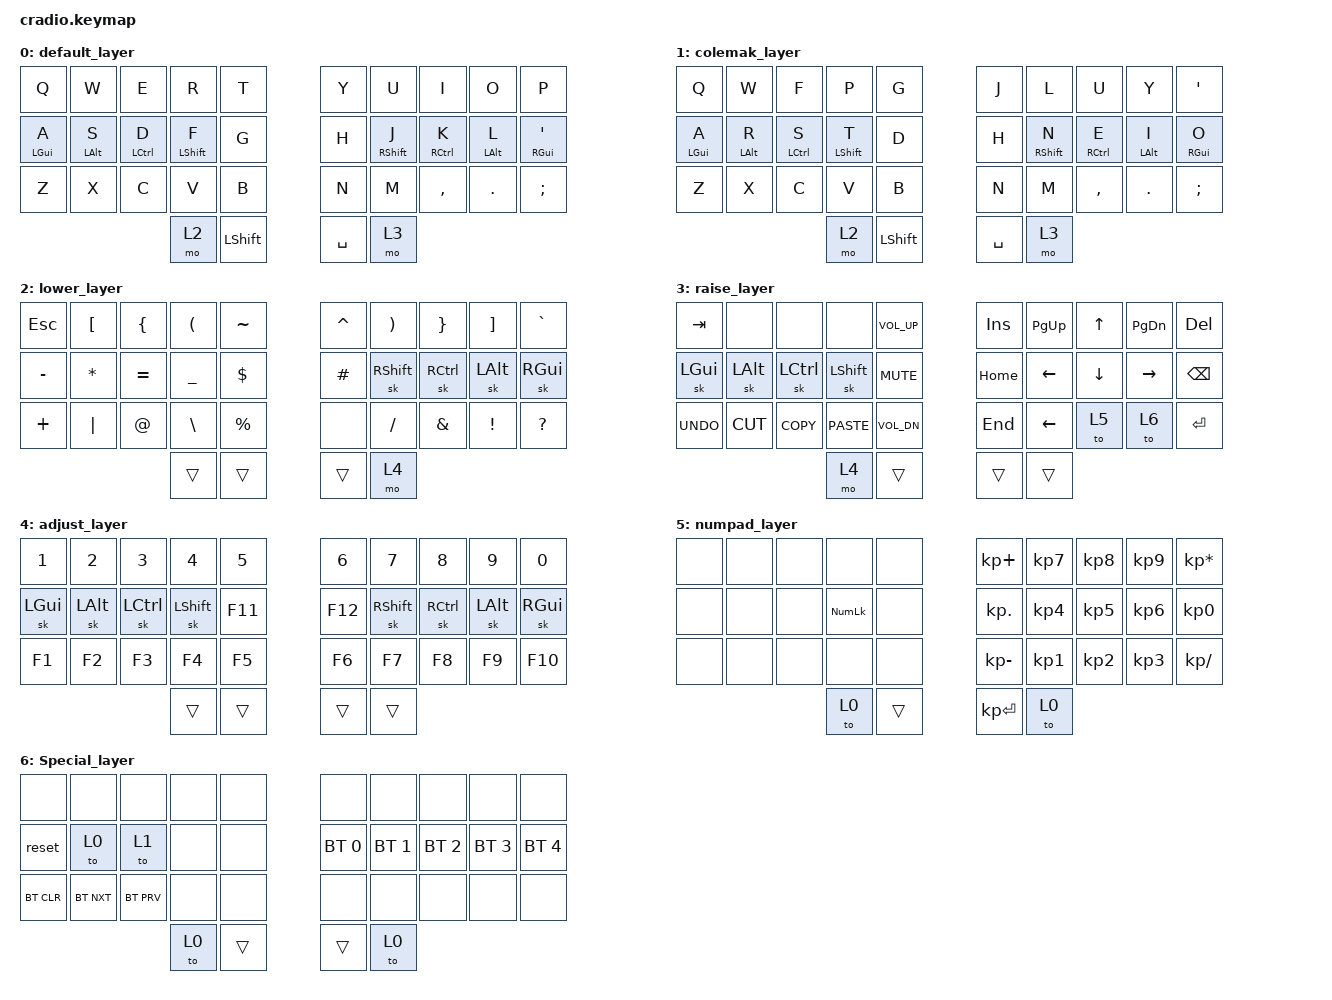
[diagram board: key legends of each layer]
/*
 * Copyright (c) 2020 The ZMK Contributors
 *
 * SPDX-License-Identifier: MIT
 */

#include <behaviors.dtsi>
#include <dt-bindings/zmk/keys.h>
#include <dt-bindings/zmk/bt.h>


&mt {
  //  flavor = "tap-preferred";
   // tapping_term_ms = <200>;
};

/ { 
	// Tap-preferred (Similar to IGNORE_TAP_INTERRUPT in QMK)
	behaviors {        
		hm: homerow_mods {            
			compatible = "zmk,behavior-hold-tap";            
			label = "HOMEROW_MODS";            
			#binding-cells = <2>;            
			tapping-term-ms = <300>;            
			quick-tap-ms = <0>;            
			flavor = "tap-preferred";            
			bindings = <&kp>, <&kp>;        
		};    
	};


    combos {
        compatible = "zmk,combos";
        combo_esc {
            timeout-ms = <50>;
            key-positions = <0 1>;
            bindings = <&kp ESC>;
        };
        
        combo_tab {
            timeout-ms = <50>;
            key-positions = <10 11>;
            bindings = <&kp TAB>;
        };
        
        combo_ralt {
            timeout-ms = <50>;
            key-positions = <17 16>;
            bindings = <&kp RALT>;
        };
        
        combo_lalt {
            timeout-ms = <50>;
            key-positions = <11 12>;
            bindings = <&kp LALT>;
        };
        
        combo_lgui {
            timeout-ms = <50>;
            key-positions = <12 13>;
            bindings = <&kp LGUI>;
        };
        
        
        combo_rgui {
            timeout-ms = <50>;
            key-positions = <17 18>;
            bindings = <&kp RGUI>;
        };
        

        
    };

        keymap {
            compatible = "zmk,keymap";
		// Layer 0
		// -------------------------------------------------------------------------------------------------------------------------
		// |    Q    |    W    |    E    |    R    |    T    |                   |    Y    |    U    |    I    |    O    |    P    |
		// |  HM A   |  HM S   |  HM  D  |  HM  F  |    G    |                   |    H    |  HM  J  |  HM  K  |  HM  L  |  HM  '  |
		// |    Z    |    X    |    C    |    V    |    B    |                   |    N    |    M    |    ,    |    .    |    ;    |
		//                               |   Sym   |  Shift  |                   |  Space  |   Nav   |
       	default_layer { //qwerty
		bindings = <
		&kp Q 		&kp W 		&kp E 			&kp R 			&kp T 					&kp Y 		&kp U  			&kp I    		&kp O   	&kp P 
		&hm LGUI A 	&hm LALT S 	&hm LCTRL D 	&hm LSHIFT F 	&kp G 			      	&kp H 		&hm RSHIFT J 	&hm RCTRL K 	&hm LALT L 	&hm RGUI SQT
		&kp Z	 	&kp X 		&kp C 			&kp V 			&kp B				    &kp N 		&kp M  			&kp COMMA 		&kp DOT 	&kp SEMI
          										&mo 2 			&kp LSHIFT  			&kp SPACE 	&mo 3 
		>;
		};

		// Layer 1
		// -------------------------------------------------------------------------------------------------------------------------
		// |    Q    |    W    |    F    |    P    |    G    |                   |    J    |    L    |    U    |    Y    |    '    |
		// |  HM  A  |  HM  R  |  HM  S  |  HM  T  |    D    |                   |    H    |  HM  N  |  HM  E  |  HM  I  |  HM  O  |
		// |    Z    |    X    |    C    |    V    |    B    |                   |    K    |    M    |    ,    |    .    |    ;    |
		//                               |   Sym   |  Shift  |                   |  Space  |   Nav   |
       	colemak_layer { //colemak
		bindings = <
		&kp Q 		&kp W 		&kp F 	 		&kp P 			&kp G 					&kp J 		&kp L  			&kp U    		&kp Y   	&kp SQT 
		&hm LGUI A 	&hm LALT R 	&hm LCTRL S 	&hm LSHIFT T 	&kp D 			      	&kp H 		&hm RSHIFT N 	&hm RCTRL E 	&hm LALT I 	&hm RGUI O
		&kp Z 		&kp X 		&kp C 			&kp V 			&kp B				    &kp N 		&kp M  			&kp CMMA 		&kp DOT 	&kp SEMI
          										&mo 2 			&kp LSHIFT  			&kp SPACE 	&mo 3 
		>;
		};

		// Layer 2
        // -------------------------------------------------------------------------------------------------------------------------
		// |   ESC   |    [    |    {    |    (    |    ~    |                   |    ^    |    )    |    }    |    ]    |    `    |
		// |    -    |    *    |    =    |    _    |    $    |                   |    #    |  RShift |  RCtrl  |   LAlt  |   RGUI  |
		// |    +    |    |    |    @    |    \    |    %    |                   |         |    /    |    &    |    !    |    ?    |
		//                               |   Sym   |  Shift  |                   |  Space  |   Nav   |
       	lower_layer { //Symbols
		bindings = <
		&kp ESC  	&kp LBKT    &kp LBRC   	&kp LPAR	&kp TILDE			&kp CARET 	&kp RPAR 	&kp RBRC	&kp RBKT 	&kp GRAVE 
		&kp MINUS   &kp ASTRK   &kp EQUAL   &kp UNDER   &kp DLLR 			&kp HASH 	&sk RSHIFT  &sk RCTRL 	&sk LALT  	&sk RGUI 
		&kp PLUS    &kp PIPE 	&kp AT 		&kp BSLH 	&kp PRCNT 			&none	 	&kp SLASH	&kp AMPS 	&kp EXCL  	&kp QMARK 
					    					&trans  	&trans  			&trans 		&mo 4 
		>;
		};
		
		// Layer 3
		// -------------------------------------------------------------------------------------------------------------------------
		// |   Tab   |         |         |         |  VolUp  |                   |   Ins   |   PgUp  |   Up    |  PgDn   |   Del    |
		// |  LGUI   |   LAlt  |  LCtrl  |  LShift |  Mute   |                   |  Home   |   Left  |   Down  |  Right  |   BckSp  |
		// |   Undo  |   Cut   |  Copy   |  Paste  |  VolDn  |                   |   End   |         |  NumPad |  Specl  |   Enter  |
		//                               |   Sym   |  Shift  |                   |  Space  |   Nav   |
		raise_layer { //Navigation
		bindings = <
		&kp TAB  	&none 		&none  		&none  		&kp C_VOL_UP   		&kp INS  	&kp PG_UP 	&kp UP 		&kp PG_DN 	&kp DEL 
		&sk LGUI  	&sk LALT  	&sk LCTRL  	&sk LSHIFT 	&kp C_MUTE 			&kp HOME 	&kp LEFT  	&kp DOWN  	&kp RIGHT   &kp BSPC
		&kp K_UNDO 	&kp K_CUT 	&kp K_COPY 	&kp K_PASTE	&kp C_VOL_DN   		&kp END 	&kp LEFT 	&to 5 		&to 6	  	&kp ENTER
					  						&mo 4 		&trans  			&trans  	&trans 
		>;
		};	

		// Layer 4
		// -------------------------------------------------------------------------------------------------------------------------
		// |    1    |    2    |    3    |    4    |    5    |                   |    6    |    7    |    8    |    9    |    0    |
		// |  LGUI   |   LAlt  |  LCtrl  |  LShift |   F11   |                   |  F12    |  RShift |  RCtrl  |   LAlt  |   RGUI  |
		// |   F1    |   F2    |   F3    |   F4    |   F5    |                   |   F6    |   F7    |   F8    |   F9    |   10    |
		//                               |   Sym   |  Shift  |                   |  Space  |   Nav   |
		adjust_layer { //Numbers
		bindings = <
		&kp N1  	&kp N2   	&kp N3   	&kp N4   	&kp N5 				&kp N6 		&kp N7   	&kp N8   	&kp N9  	&kp N0
		&sk LGUI 	&sk LALT 	&sk LCTRL 	&sk LSHIFT 	&kp F11 			&kp F12 	&sk RSHIFT  &sk RCTRL 	&sk LALT 	&sk RGUI 
		&kp F1  	&kp F2 		&kp F3 		&kp F4 		&kp F5   			&kp F6 		&kp F7  	&kp F8  	&kp F9 		&kp F10   
					 						&trans 		&trans  			&trans 		&trans 
		>;
		};	

		// Layer 5
		// -------------------------------------------------------------------------------------------------------------------------
		// |         |         |         |         |         |                   |    +    |    7    |    8    |    9    |    *    |
		// |         |         |         | NumLock |         |                   |    .    |    4    |    5    |    6    |    0    |
		// |         |         |         |         |         |                   |    -    |    1    |    2    |    3    |    /    |
		//                               | TO Base |  Shift  |                   |  Enter  | TO Base |
		numpad_layer { //Number Pad
		bindings = <
		&none  	&none   &none   &none   		&none 				&kp KP_PLUS 	&kp KP_N7   &kp KP_N8   &kp KP_N9  	&kp KP_MULTIPLY
		&none 	&none 	&none 	&kp KP_NLCK 	&none  				&kp KP_DOT 		&kp KP_N4  	&kp KP_N5 	&kp KP_N6 	&kp KP_N0 
		&none  	&none 	&none 	&none 			&none   			&kp KP_MINUS 	&kp KP_N1  	&kp KP_N2  	&kp KP_N3 	&kp KP_DIVIDE   
					 			&to 0 			&trans  			&kp KP_ENTER 	&to 0 
		>;
		};


		// Layer 6
		// -------------------------------------------------------------------------------------------------------------------------
		// |         |         |         |         |         |                   |         |         |         |         |         |
		// |  Reset  | QWERTY  | COLEMAK |         |         |                   | BT_SEL 0| BT_SEL 1| BT_SEL 2| BT_SEL 3| BT_SEL 4|
		// |  BT_CLR | BT_NXT  | BT_PRV  |         |         |                   |         |         |         |         |         |
		//                               | TO Base |  Shift  |                   |  Space  | TO Base |
		Special_layer { //Special Functions
		bindings = <
		&none  		&none   	&none   	&none   &none 				&none 			&none   		&none   		&none  			&none
		&reset 		&to 0 		&to 1 		&none 	&none				&bt BT_SEL 0 	&bt BT_SEL 1   	&bt BT_SEL 2   	&bt BT_SEL 3  	&bt BT_SEL 4
		&bt BT_CLR  &bt BT_NXT 	&bt BT_PRV 	&none   &none 				&none 			&none   		&none   		&none  			&none   
					 						&to 0 	&trans  			&trans 			&to 0 
		>;
		};
        
	};
};
